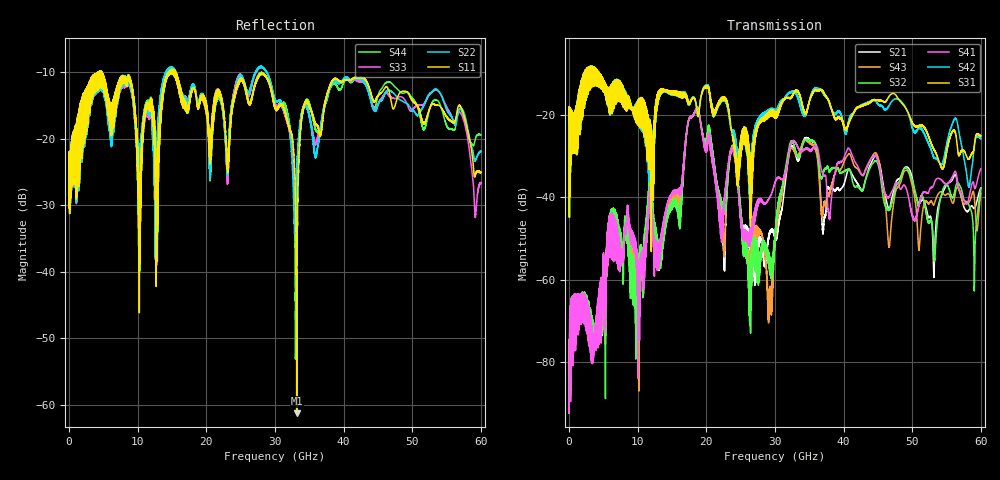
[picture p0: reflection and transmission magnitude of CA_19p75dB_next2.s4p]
!4 port subset of full cascaded channels using these ports:55 37 56 38
# Hz S RI R 50
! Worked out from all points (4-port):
!   6000 points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, 10 MHz to 60 GHz, reference 50 ohm
!   strongest paths, dB at 10 MHz, 15.01 GHz, 30.01 GHz, 45.01 GHz, 60 GHz:
!     S31: -21.9, -14.2, -19.2, -16.4, -25.0
!     S42: -21.9, -14.4, -18.7, -17.3, -25.7
!     S41: -89.5, -38.9, -36.5, -31.3, -33.0
!     S32: -89.4, -41.3, -48.3, -31.9, -37.9
!     S43: -89.5, -39.6, -49.5, -30.2, -39.0
!     S21: -89.5, -40.4, -49.8, -30.6, -37.7
!   lowest |S11| = -61.3 dB at 33.17 GHz (marker M1), VSWR 1.00, Z = 50 - j0.0844 ohm
!   |S11| at or under -10 dB: start of sweep to 4.249 GHz; 4.772 GHz to 14.5 GHz (9.727 GHz wide, 101 % of centre); 15.49 GHz to end of sweep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
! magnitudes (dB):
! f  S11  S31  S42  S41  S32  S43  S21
! 10 MHz  -24.0  -21.9  -21.9  -89.5  -89.4  -89.5  -89.5
! 18.54 GHz  -14.0  -17.6  -17.8  -18.5  -18.5  -18.6  -18.3
! 22.49 GHz  -15.4  -16.2  -16.4  -45.2  -42.4  -49.2  -49.4
! 23.88 GHz  -14.6  -25.9  -24.1  -28.7  -27.5  -28.6  -28.5
! 29.23 GHz  -11.8  -18.9  -18.5  -40.0  -54.5  -65.3  -48.6
! 33.17 GHz  -61.3  -13.9  -14.9  -27.2  -29.5  -29.8  -30.6
! 60 GHz  -25.0  -25.0  -25.7  -33.0  -37.9  -39.0  -37.7
